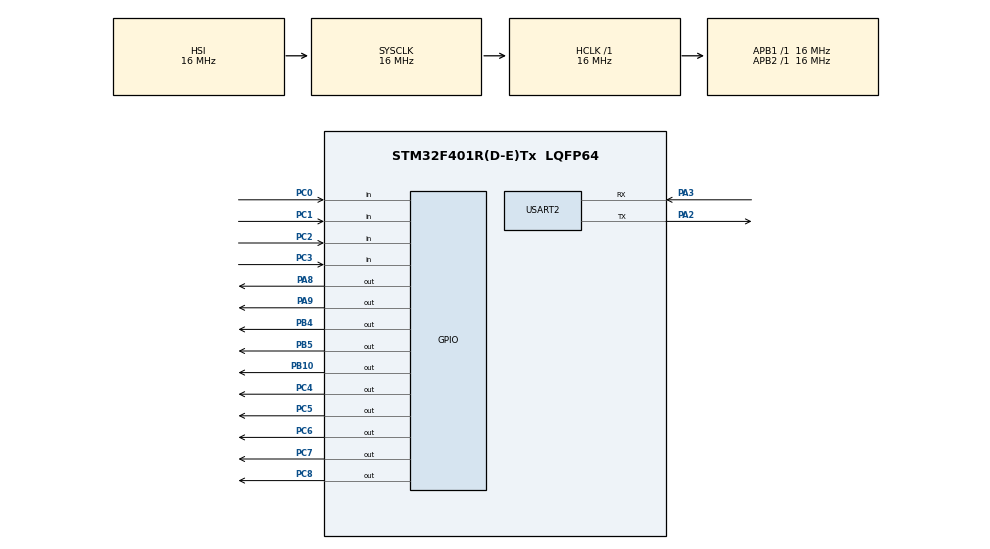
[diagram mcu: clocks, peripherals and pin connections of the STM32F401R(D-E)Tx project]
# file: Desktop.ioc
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Mcu.Family=STM32F4
Mcu.Name=STM32F401R(D-E)Tx
Mcu.Package=LQFP64
NVIC.PriorityGroup=NVIC_PRIORITYGROUP_4
NVIC.USART2_IRQn=true\:0\:0\:false\:false\:true\:true\:true
PA2.Mode=Asynchronous
PA2.Signal=USART2_TX
PA3.Mode=Asynchronous
PA3.Signal=USART2_RX
PA8.Signal=GPIO_Output
PA9.Signal=GPIO_Output
PB10.Signal=GPIO_Output
PB4.Signal=GPIO_Output
PB5.Signal=GPIO_Output
PC0.GPIO_PuPd=GPIO_PULLUP
PC0.Signal=GPIO_Input
PC1.GPIO_PuPd=GPIO_PULLUP
PC1.Signal=GPIO_Input
PC2.GPIO_PuPd=GPIO_PULLUP
PC2.Signal=GPIO_Input
PC3.GPIO_PuPd=GPIO_PULLUP
PC3.Signal=GPIO_Input
PC4.Signal=GPIO_Output
PC5.Signal=GPIO_Output
PC6.Signal=GPIO_Output
PC7.Signal=GPIO_Output
PC8.Signal=GPIO_Output
ProjectManager.HeapSize=0x200
ProjectManager.StackSize=0x400
ProjectManager.TargetToolchain=MDK-ARM V5.32
RCC.AHBFreq_Value=16000000
RCC.APB1Freq_Value=16000000
RCC.APB2Freq_Value=16000000
RCC.CortexFreq_Value=16000000
RCC.HSE_VALUE=25000000
RCC.HSI_VALUE=16000000
RCC.LSE_VALUE=32768
RCC.SYSCLKFreq_VALUE=16000000
RCC.VCOOutputFreq_Value=192000000
USART2.VirtualMode=VM_ASYNC
board=custom

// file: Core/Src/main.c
/* USER CODE BEGIN Header */
/**
 ******************************************************************************
 * @file           : main.c
 * @brief          : Main program body
 ******************************************************************************
 * @attention
 *
 * <h2><center>&copy; Copyright (c) 2022 STMicroelectronics.
 * All rights reserved.</center></h2>
 *
 * This software component is licensed by ST under BSD 3-Clause license,
 * the "License"; You may not use this file except in compliance with the
 * License. You may obtain a copy of the License at:
 *                        opensource.org/licenses/BSD-3-Clause
 *
 ******************************************************************************
 */
/* USER CODE END Header */
#include "main.h"
#include <stdio.h>
#include <stdlib.h>

/* USER CODE BEGIN PTD */
#define D7 GPIO_PIN_8
#define D7_GPIO GPIOA

#define D6 GPIO_PIN_10
#define D6_GPIO GPIOB

#define D5 GPIO_PIN_4
#define D5_GPIO GPIOB

#define D4 GPIO_PIN_5
#define D4_GPIO GPIOB

#define EN GPIO_PIN_7
#define EN_GPIO GPIOC

#define RS GPIO_PIN_9
#define RS_GPIO GPIOA

#define KEYP_GPIO_SELECT GPIOC
#define KEYP_KPA GPIO_PIN_0
#define KEYP_KPB GPIO_PIN_1
#define KEYP_KPC GPIO_PIN_2
#define KEYP_KPD GPIO_PIN_3
#define KEYP_KP1 GPIO_PIN_4
#define KEYP_KP2 GPIO_PIN_5
#define KEYP_KP3 GPIO_PIN_6
#define KEYP_KP4 GPIO_PIN_8

void delayMs(int n);
void LCD_nibble_write(char data, unsigned char control);
void LCD_command(unsigned char command);
void LCD_data(char data);
void LCD_init(void);
char KEYPAD_check(void);
void checkInput(char charIn);
void print_result(void);
void show_Operation(void);
uint8_t send_buffer[1] = {0};
uint8_t rec_buffer[1] = {0};

int num1 = 0;
int num2 = 0;
int mode = 0; // 0 for getting first number, 1 for getting operatin, 2 for getting second number, 3 for calculate, 4 for reset
char operation_symbol = 0;
int result = 0;
int reset_calc = 0; // reset lcd after one calculation ( when user starts to write new number)

/* USER CODE END PTD */

UART_HandleTypeDef huart2;

void SystemClock_Config(void);
static void MX_GPIO_Init(void);
static void MX_USART2_UART_Init(void);

int main(void)
{

    /* MCU Configuration--------------------------------------------------------*/

    /* Reset of all peripherals, Initializes the Flash interface and the Systick. */
    HAL_Init();

    /* Configure the system clock */
    SystemClock_Config();

    /* Initialize all configured peripherals */
    MX_GPIO_Init();
    MX_USART2_UART_Init();
    /* USER CODE BEGIN 2 */
    LCD_init();
    LCD_command(0x01);

    /* USER CODE END 2 */

    /* Infinite loop */
    while (1)
    {

        /* USER CODE BEGIN 3 */
        HAL_GPIO_TogglePin(GPIOC,GPIO_PIN_4);
        delayMs(500);
        // char charIN = KEYPAD_check();
        // if (charIN != 0x01)
        // {
        //     // LCD_data(charIN);
        //     send_buffer[0] = charIN;
        //     HAL_UART_Transmit_IT(&huart2, send_buffer, sizeof(send_buffer));
        //     HAL_UART_Receive_IT(&huart2, rec_buffer, sizeof(rec_buffer));
        // }
    }
    /* USER CODE END 3 */
}

void SystemClock_Config(void)
{
    RCC_OscInitTypeDef RCC_OscInitStruct = {0};
    RCC_ClkInitTypeDef RCC_ClkInitStruct = {0};

    /** Configure the main internal regulator output voltage
     */
    __HAL_RCC_PWR_CLK_ENABLE();
    __HAL_PWR_VOLTAGESCALING_CONFIG(PWR_REGULATOR_VOLTAGE_SCALE2);
    /** Initializes the RCC Oscillators according to the specified parameters
     * in the RCC_OscInitTypeDef structure.
     */
    RCC_OscInitStruct.OscillatorType = RCC_OSCILLATORTYPE_HSI;
    RCC_OscInitStruct.HSIState = RCC_HSI_ON;
    RCC_OscInitStruct.HSICalibrationValue = RCC_HSICALIBRATION_DEFAULT;
    RCC_OscInitStruct.PLL.PLLState = RCC_PLL_NONE;
    if (HAL_RCC_OscConfig(&RCC_OscInitStruct) != HAL_OK)
    {
        Error_Handler();
    }
    /** Initializes the CPU, AHB and APB buses clocks
     */
    RCC_ClkInitStruct.ClockType = RCC_CLOCKTYPE_HCLK | RCC_CLOCKTYPE_SYSCLK | RCC_CLOCKTYPE_PCLK1 | RCC_CLOCKTYPE_PCLK2;
    RCC_ClkInitStruct.SYSCLKSource = RCC_SYSCLKSOURCE_HSI;
    RCC_ClkInitStruct.AHBCLKDivider = RCC_SYSCLK_DIV1;
    RCC_ClkInitStruct.APB1CLKDivider = RCC_HCLK_DIV1;
    RCC_ClkInitStruct.APB2CLKDivider = RCC_HCLK_DIV1;

    if (HAL_RCC_ClockConfig(&RCC_ClkInitStruct, FLASH_LATENCY_0) != HAL_OK)
    {
        Error_Handler();
    }
}

static void MX_USART2_UART_Init(void)
{

    huart2.Instance = USART2;
    huart2.Init.BaudRate = 115200;
    huart2.Init.WordLength = UART_WORDLENGTH_8B;
    huart2.Init.StopBits = UART_STOPBITS_1;
    huart2.Init.Parity = UART_PARITY_NONE;
    huart2.Init.Mode = UART_MODE_TX_RX;
    huart2.Init.HwFlowCtl = UART_HWCONTROL_NONE;
    huart2.Init.OverSampling = UART_OVERSAMPLING_16;
    if (HAL_UART_Init(&huart2) != HAL_OK)
    {
        Error_Handler();
    }
}

static void MX_GPIO_Init(void)
{
    GPIO_InitTypeDef GPIO_InitStruct = {0};

    /* GPIO Ports Clock Enable */
    __HAL_RCC_GPIOC_CLK_ENABLE();
    __HAL_RCC_GPIOA_CLK_ENABLE();
    __HAL_RCC_GPIOB_CLK_ENABLE();

    /*Configure GPIO pin Output Level */
    HAL_GPIO_WritePin(GPIOC, GPIO_PIN_4 | GPIO_PIN_5 | GPIO_PIN_6 | GPIO_PIN_7 | GPIO_PIN_8, GPIO_PIN_RESET);

    /*Configure GPIO pin Output Level */
    HAL_GPIO_WritePin(GPIOB, GPIO_PIN_10 | GPIO_PIN_4 | GPIO_PIN_5, GPIO_PIN_RESET);

    /*Configure GPIO pin Output Level */
    HAL_GPIO_WritePin(GPIOA, GPIO_PIN_8 | GPIO_PIN_9, GPIO_PIN_RESET);

    /*Configure GPIO pins : PC0 PC1 PC2 PC3 */
    GPIO_InitStruct.Pin = GPIO_PIN_0 | GPIO_PIN_1 | GPIO_PIN_2 | GPIO_PIN_3;
    GPIO_InitStruct.Mode = GPIO_MODE_INPUT;
    GPIO_InitStruct.Pull = GPIO_NOPULL;
    HAL_GPIO_Init(GPIOC, &GPIO_InitStruct);

    /*Configure GPIO pins : PC4 PC5 PC6 PC7
                             PC8 */
    GPIO_InitStruct.Pin = GPIO_PIN_4 | GPIO_PIN_5 | GPIO_PIN_6 | GPIO_PIN_7 | GPIO_PIN_8;
    GPIO_InitStruct.Mode = GPIO_MODE_OUTPUT_PP;
    GPIO_InitStruct.Pull = GPIO_NOPULL;
    GPIO_InitStruct.Speed = GPIO_SPEED_FREQ_LOW;
    HAL_GPIO_Init(GPIOC, &GPIO_InitStruct);

    /*Configure GPIO pins : PB10 PB4 PB5 */
    GPIO_InitStruct.Pin = GPIO_PIN_10 | GPIO_PIN_4 | GPIO_PIN_5;
    GPIO_InitStruct.Mode = GPIO_MODE_OUTPUT_PP;
    GPIO_InitStruct.Pull = GPIO_NOPULL;
    GPIO_InitStruct.Speed = GPIO_SPEED_FREQ_LOW;
    HAL_GPIO_Init(GPIOB, &GPIO_InitStruct);

    /*Configure GPIO pins : PA8 PA9 */
    GPIO_InitStruct.Pin = GPIO_PIN_8 | GPIO_PIN_9;
    GPIO_InitStruct.Mode = GPIO_MODE_OUTPUT_PP;
    GPIO_InitStruct.Pull = GPIO_NOPULL;
    GPIO_InitStruct.Speed = GPIO_SPEED_FREQ_LOW;
    HAL_GPIO_Init(GPIOA, &GPIO_InitStruct);
}

/* USER CODE BEGIN 4 */
void LCD_init(void)
{
    delayMs(20); /* LCD controller reset sequence */
    LCD_nibble_write(0x30, 0);
    delayMs(5);
    LCD_nibble_write(0x30, 0);
    delayMs(1);
    LCD_nibble_write(0x30, 0);
    delayMs(1);

    LCD_nibble_write(0x20, 0); /* use 4-bit data mode */
    delayMs(1);
    LCD_command(0x28); /* set 4-bit data, 2-line, 5x7 font */
    LCD_command(0x06); /* move cursor right */
    LCD_command(0x01); /* clear screen, move cursor to home */
    LCD_command(0x0F); /* turn on display, cursor blinking */
}

void LCD_nibble_write(char data, unsigned char control)
{
    /* set R/S bit */

    if (control == 0)
        HAL_GPIO_WritePin(RS_GPIO, RS, GPIO_PIN_RESET);
    else
        HAL_GPIO_WritePin(RS_GPIO, RS, GPIO_PIN_SET);

    HAL_GPIO_WritePin(D4_GPIO, D4, data % 2);
    data /= 2;
    HAL_GPIO_WritePin(D5_GPIO, D5, data % 2);
    data /= 2;
    HAL_GPIO_WritePin(D6_GPIO, D6, data % 2);
    data /= 2;
    HAL_GPIO_WritePin(D7_GPIO, D7, data % 2);

    /* pulse E */
    HAL_GPIO_WritePin(EN_GPIO, EN, GPIO_PIN_SET);
    delayMs(0);
    HAL_GPIO_WritePin(EN_GPIO, EN, GPIO_PIN_RESET);
}

void LCD_command(unsigned char command)
{
    LCD_nibble_write(((command & 0xF0) >> 4), 0); /* upper nibble first */
    LCD_nibble_write(command & 0x0F, 0);          /* then lower nibble */

    if (command < 4)
        delayMs(5); /* command 1 and 2 needs up to 1.64ms */
    else
        delayMs(2); /* all others 40 us */
}

void LCD_data(char data)
{
    LCD_nibble_write(((data & 0xF0) >> 4), 1); /* upper nibble first */
    LCD_nibble_write(data & 0x0F, 1);          /* then lower nibble */

    delayMs(2);
}

/* delay n milliseconds (16 MHz CPU clock) */
void delayMs(int n)
{
    int i;
    for (; n > 0; n--)
        for (i = 0; i < 3195; i++)
            __NOP();
}

char KEYPAD_check(void)
{
    HAL_GPIO_WritePin(KEYP_GPIO_SELECT, KEYP_KP1, GPIO_PIN_RESET);
    HAL_GPIO_WritePin(KEYP_GPIO_SELECT, KEYP_KP2, GPIO_PIN_SET);
    HAL_GPIO_WritePin(KEYP_GPIO_SELECT, KEYP_KP3, GPIO_PIN_SET);
    HAL_GPIO_WritePin(KEYP_GPIO_SELECT, KEYP_KP4, GPIO_PIN_SET);

    if (!(HAL_GPIO_ReadPin(KEYP_GPIO_SELECT, KEYP_KPA)))
    {
        while (!(HAL_GPIO_ReadPin(KEYP_GPIO_SELECT, KEYP_KPA)))
            ; // wait till the button is pressed
        return '7';
    }

    if (!(HAL_GPIO_ReadPin(KEYP_GPIO_SELECT, KEYP_KPB)))
    {
        while (!(HAL_GPIO_ReadPin(KEYP_GPIO_SELECT, KEYP_KPB)))
            ; // wait till the button is pressed
        return '4';
    }

    if (!(HAL_GPIO_ReadPin(KEYP_GPIO_SELECT, KEYP_KPC)))
    {
        while (!(HAL_GPIO_ReadPin(KEYP_GPIO_SELECT, KEYP_KPC)))
            ; // wait till the button is pressed
        return '1';
    }

    if (!(HAL_GPIO_ReadPin(KEYP_GPIO_SELECT, KEYP_KPD)))
    {
        while (!(HAL_GPIO_ReadPin(KEYP_GPIO_SELECT, KEYP_KPD)))
            ; // wait till the button is pressed
        return 'c';
    }

    HAL_GPIO_WritePin(KEYP_GPIO_SELECT, KEYP_KP1, GPIO_PIN_SET);
    HAL_GPIO_WritePin(KEYP_GPIO_SELECT, KEYP_KP2, GPIO_PIN_RESET);
    HAL_GPIO_WritePin(KEYP_GPIO_SELECT, KEYP_KP3, GPIO_PIN_SET);
    HAL_GPIO_WritePin(KEYP_GPIO_SELECT, KEYP_KP4, GPIO_PIN_SET);

    if (!(HAL_GPIO_ReadPin(KEYP_GPIO_SELECT, KEYP_KPA)))
    {
        while (!(HAL_GPIO_ReadPin(KEYP_GPIO_SELECT, KEYP_KPA)))
            ; // wait till the button is pressed
        return '8';
    }

    if (!(HAL_GPIO_ReadPin(KEYP_GPIO_SELECT, KEYP_KPB)))
    {
        while (!(HAL_GPIO_ReadPin(KEYP_GPIO_SELECT, KEYP_KPB)))
            ; // wait till the button is pressed
        return '5';
    }

    if (!(HAL_GPIO_ReadPin(KEYP_GPIO_SELECT, KEYP_KPC)))
    {
        while (!(HAL_GPIO_ReadPin(KEYP_GPIO_SELECT, KEYP_KPC)))
            ; // wait till the button is pressed
        return '2';
    }

    if (!(HAL_GPIO_ReadPin(KEYP_GPIO_SELECT, KEYP_KPD)))
    {
        while (!(HAL_GPIO_ReadPin(KEYP_GPIO_SELECT, KEYP_KPD)))
            ; // wait till the button is pressed
        return '0';
    }

    HAL_GPIO_WritePin(KEYP_GPIO_SELECT, KEYP_KP1, GPIO_PIN_SET);
    HAL_GPIO_WritePin(KEYP_GPIO_SELECT, KEYP_KP2, GPIO_PIN_SET);
    HAL_GPIO_WritePin(KEYP_GPIO_SELECT, KEYP_KP3, GPIO_PIN_RESET);
    HAL_GPIO_WritePin(KEYP_GPIO_SELECT, KEYP_KP4, GPIO_PIN_SET);

    if (!(HAL_GPIO_ReadPin(KEYP_GPIO_SELECT, KEYP_KPA)))
    {
        while (!(HAL_GPIO_ReadPin(KEYP_GPIO_SELECT, KEYP_KPA)))
            ; // wait till the button is pressed
        return '9';
    }

    if (!(HAL_GPIO_ReadPin(KEYP_GPIO_SELECT, KEYP_KPB)))
    {
        while (!(HAL_GPIO_ReadPin(KEYP_GPIO_SELECT, KEYP_KPB)))
            ; // wait till the button is pressed
        return '6';
    }

    if (!(HAL_GPIO_ReadPin(KEYP_GPIO_SELECT, KEYP_KPC)))
    {
        while (!(HAL_GPIO_ReadPin(KEYP_GPIO_SELECT, KEYP_KPC)))
            ; // wait till the button is pressed
        return '3';
    }

    if (!(HAL_GPIO_ReadPin(KEYP_GPIO_SELECT, KEYP_KPD)))
    {
        while (!(HAL_GPIO_ReadPin(KEYP_GPIO_SELECT, KEYP_KPD)))
            ; // wait till the button is pressed
        return 'e';
    }

    HAL_GPIO_WritePin(KEYP_GPIO_SELECT, KEYP_KP1, GPIO_PIN_SET);
    HAL_GPIO_WritePin(KEYP_GPIO_SELECT, KEYP_KP2, GPIO_PIN_SET);
    HAL_GPIO_WritePin(KEYP_GPIO_SELECT, KEYP_KP3, GPIO_PIN_SET);
    HAL_GPIO_WritePin(KEYP_GPIO_SELECT, KEYP_KP4, GPIO_PIN_RESET);

    if (!(HAL_GPIO_ReadPin(KEYP_GPIO_SELECT, KEYP_KPA)))
    {
        while (!(HAL_GPIO_ReadPin(KEYP_GPIO_SELECT, KEYP_KPA)))
            ; // wait till the button is pressed
        return 'd';
    }

    if (!(HAL_GPIO_ReadPin(KEYP_GPIO_SELECT, KEYP_KPB)))
    {
        while (!(HAL_GPIO_ReadPin(KEYP_GPIO_SELECT, KEYP_KPB)))
            ; // wait till the button is pressed
        return 'x';
    }

    if (!(HAL_GPIO_ReadPin(KEYP_GPIO_SELECT, KEYP_KPC)))
    {
        while (!(HAL_GPIO_ReadPin(KEYP_GPIO_SELECT, KEYP_KPC)))
            ; // wait till the button is pressed
        return 'm';
    }

    if (!(HAL_GPIO_ReadPin(KEYP_GPIO_SELECT, KEYP_KPD)))
    {
        while (!(HAL_GPIO_ReadPin(KEYP_GPIO_SELECT, KEYP_KPD)))
            ; // wait till the button is pressed
        return 's';
    }
}

void HAL_UART_RxCpltCallback(UART_HandleTypeDef *huart)
{
    HAL_UART_Receive_IT(&huart2, rec_buffer, sizeof(rec_buffer));
    // LCD_data(rec_buffer[0]);
    if (mode == 0)
    {
        if (reset_calc == 0)
        {
            LCD_command(1);
            reset_calc++;
        }
        if (0 <= rec_buffer[0] - 48 && rec_buffer[0] - 48 <= 9)
        {
            LCD_data(rec_buffer[0]);
            num1 *= 10;
            num1 += (rec_buffer[0] - 48);
        }
        else if (rec_buffer[0] == 'c')
        {
            mode = 4;
        }
        else
        {
            mode++;
            operation_symbol = rec_buffer[0];
                }
    }

    if (mode == 1)
    {

        if (0 <= rec_buffer[0] - 48 && rec_buffer[0] - 48 <= 9)
        {

            mode++;
        }
        else if (rec_buffer[0] == 'c')
        {
            mode = 4;
        }
        else
        {
            operation_symbol = rec_buffer[0];
            show_Operation();
        }
    }

    if (mode == 2)
    {
        if (0 <= rec_buffer[0] - 48 && rec_buffer[0] - 48 <= 9)
        {
            num2 *= 10;
            num2 += (rec_buffer[0] - 48);
            LCD_data(rec_buffer[0]);
        }
        else if (rec_buffer[0] == 'c')
        {
            mode = 4;
        }
        else if (rec_buffer[0] == 'e')
        {
            mode++;
            LCD_command(1);
            LCD_data('=');
        }
    }

    if (mode == 3)
    {
        switch (operation_symbol)
        {
        case 'd':
            result = num1 / num2;
            break;
        case 'x':
            result = num1 * num2;
            break;
        case 'm':
            result = num1 - num2;
            break;
        case 's':
            result = num1 + num2;
            break;
        default:
            LCD_data('?');
        }
        print_result();
        mode++;
    }
    if (mode == 4)
    {
        num1 = 0;
        num2 = 0;
        result = 0;
        mode = 0;
        operation_symbol = 0;
        reset_calc = 0;
    }
}

void print_result(void)
{
    char resVal[100];
    sprintf(resVal, "%d", result);
    for (int i = 0; i < 101; i++)
    {
        if (resVal[i] == '\0')
            break;
        LCD_data(resVal[i]);
    }
}

void show_Operation(void)
{
    switch (operation_symbol)
    {
    case 'd':
        LCD_data('/');
        break;
    case 'x':
        LCD_data('*');
        break;
    case 'm':
        LCD_data('-');
        break;
    case 's':
        LCD_data('+');
        break;

    default:
        LCD_data('!');
        break;
    }
}

/* USER CODE END 4 */

void Error_Handler(void)
{
    __disable_irq();
    while (1)
    {
    }
}

/************************ (C) COPYRIGHT STMicroelectronics *****END OF FILE****/
